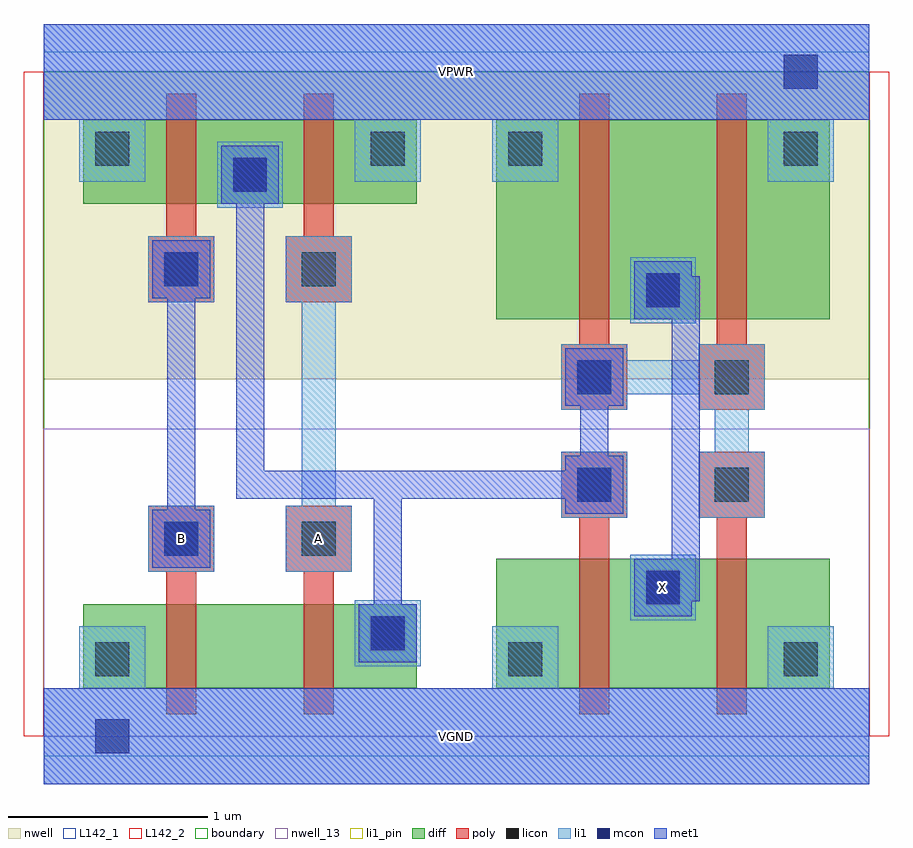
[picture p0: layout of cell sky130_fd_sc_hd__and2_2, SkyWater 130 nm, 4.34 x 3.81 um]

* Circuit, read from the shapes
.subckt sky130_fd_sc_hd__and2_2 A B VGND VPWR X
XM1 n1 B VGND VSUBS sky130_fd_pr__nfet_01v8 w=0.42 l=0.15
XM2 n2 A n1 VSUBS sky130_fd_pr__nfet_01v8 w=0.42 l=0.15
XM3 X n2 VGND VSUBS sky130_fd_pr__nfet_01v8 w=0.65 l=0.15 m=2
XM4 n2 B VPWR n3 sky130_fd_pr__pfet_01v8 w=0.42 l=0.15
XM5 VPWR A n2 n3 sky130_fd_pr__pfet_01v8 w=0.42 l=0.15
XM6 X n2 VPWR n3 sky130_fd_pr__pfet_01v8 w=1 l=0.15 m=2
.ends

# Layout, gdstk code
import gdstk
lib = gdstk.Library(unit=1e-6, precision=1e-09)
def R(c, l, rs):  # rectangles x0, y0, x1, y1
    for r in rs: c.add(gdstk.rectangle(r[:2], r[2:], *l))
def P(c, l, *ps):  # polygons
    for p in ps: c.add(gdstk.Polygon(p, *l))
nwell_13 = (64, 13)
nwell = (64, 20)
diff = (65, 20)
poly = (66, 20)
licon = (66, 44)
li1_pin = (67, 16)
li1 = (67, 20)
mcon = (67, 44)
met1 = (68, 20)
L142_1 = (142, 1)
L142_2 = (142, 2)
boundary = (235, 4)

sky130_fd_sc_hd__and2_2 = lib.new_cell('sky130_fd_sc_hd__and2_2')
R(sky130_fd_sc_hd__and2_2, nwell_13, [(0,0,4.14,1.54)])
R(sky130_fd_sc_hd__and2_2, nwell, [(0,1.79,4.14,3.33)])
R(sky130_fd_sc_hd__and2_2, diff, [(0.2,0.24,1.87,0.66), (0.2,0.24,0.615,0.66), (0.615,0.24,1.305,0.66), (1.305,0.24,1.87,0.66), (2.27,0.24,3.94,0.89), (2.27,0.24,2.685,0.89), (2.685,0.24,3.375,0.89), (3.375,0.24,3.94,0.89), (2.27,2.09,3.94,3.09), (2.27,2.09,2.685,3.09), (2.685,2.09,3.375,3.09), (3.375,2.09,3.94,3.09), (0.2,2.67,1.87,3.09), (0.2,2.67,0.615,3.09), (0.615,2.67,1.305,3.09), (1.305,2.67,1.87,3.09)])
P(sky130_fd_sc_hd__and2_2, poly, [(0.615,0.11),(0.615,0.825),(0.525,0.825),(0.525,1.155),(0.855,1.155),(0.855,0.825),(0.765,0.825),(0.765,0.11)],
  [(0.525,2.175),(0.525,2.505),(0.615,2.505),(0.615,3.22),(0.765,3.22),(0.765,2.505),(0.855,2.505),(0.855,2.175)],
  [(2.685,0.11),(2.685,1.095),(2.595,1.095),(2.595,1.425),(2.925,1.425),(2.925,1.095),(2.835,1.095),(2.835,0.11)],
  [(3.375,0.11),(3.375,1.095),(3.285,1.095),(3.285,1.425),(3.615,1.425),(3.615,1.095),(3.525,1.095),(3.525,0.11)],
  [(2.595,1.635),(2.595,1.965),(2.685,1.965),(2.685,3.22),(2.835,3.22),(2.835,1.965),(2.925,1.965),(2.925,1.635)],
  [(3.285,1.635),(3.285,1.965),(3.375,1.965),(3.375,3.22),(3.525,3.22),(3.525,1.965),(3.615,1.965),(3.615,1.635)],
  [(1.305,0.11),(1.305,0.825),(1.215,0.825),(1.215,1.155),(1.545,1.155),(1.545,0.825),(1.455,0.825),(1.455,0.11)],
  [(1.215,2.175),(1.215,2.505),(1.305,2.505),(1.305,3.22),(1.455,3.22),(1.455,2.505),(1.545,2.505),(1.545,2.175)])
R(sky130_fd_sc_hd__and2_2, licon, [(0.26,0.3,0.43,0.47), (2.33,0.3,2.5,0.47), (3.71,0.3,3.88,0.47), (1.64,0.43,1.81,0.6), (3.02,0.66,3.19,0.83), (0.605,0.905,0.775,1.075), (1.295,0.905,1.465,1.075), (2.675,1.175,2.845,1.345), (3.365,1.175,3.535,1.345), (2.675,1.715,2.845,1.885), (3.365,1.715,3.535,1.885), (3.02,2.15,3.19,2.32), (0.605,2.255,0.775,2.425), (1.295,2.255,1.465,2.425), (0.95,2.73,1.12,2.9), (0.26,2.86,0.43,3.03), (1.64,2.86,1.81,3.03), (2.33,2.86,2.5,3.03), (3.71,2.86,3.88,3.03)])
R(sky130_fd_sc_hd__and2_2, li1_pin, [(0,-0.24,4.14,0.24), (2.94,0.58,3.27,0.91), (0.525,0.825,0.855,1.155), (0,3.09,4.14,3.57)])
P(sky130_fd_sc_hd__and2_2, li1_pin, [(1.215,0.825),(1.215,1.155),(1.295,1.155),(1.295,2.175),(1.215,2.175),(1.215,2.505),(1.545,2.505),(1.545,2.175),(1.465,2.175),(1.465,1.155),(1.545,1.155),(1.545,0.825)])
R(sky130_fd_sc_hd__and2_2, li1, [(1.56,0.35,1.89,0.68), (2.94,0.58,3.27,0.91), (0.525,0.825,0.855,1.155), (2.595,1.095,2.925,1.425), (2.94,2.07,3.27,2.4), (0.525,2.175,0.855,2.505), (0.87,2.65,1.2,2.98)])
P(sky130_fd_sc_hd__and2_2, li1, [(3.285,1.095),(3.285,1.425),(3.365,1.425),(3.365,1.635),(3.285,1.635),(3.285,1.715),(2.925,1.715),(2.925,1.635),(2.595,1.635),(2.595,1.965),(2.925,1.965),(2.925,1.885),(3.285,1.885),(3.285,1.965),(3.615,1.965),(3.615,1.635),(3.535,1.635),(3.535,1.425),(3.615,1.425),(3.615,1.095)],
  [(0.18,2.78),(0.18,3.09),(0,3.09),(0,3.57),(4.14,3.57),(4.14,3.09),(3.96,3.09),(3.96,2.78),(3.63,2.78),(3.63,3.09),(2.58,3.09),(2.58,2.78),(2.25,2.78),(2.25,3.09),(1.89,3.09),(1.89,2.78),(1.56,2.78),(1.56,3.09),(0.51,3.09),(0.51,2.78)],
  [(0,-0.24),(0,0.24),(0.18,0.24),(0.18,0.55),(0.51,0.55),(0.51,0.24),(2.25,0.24),(2.25,0.55),(2.58,0.55),(2.58,0.24),(3.63,0.24),(3.63,0.55),(3.96,0.55),(3.96,0.24),(4.14,0.24),(4.14,-0.24)],
  [(1.215,0.825),(1.215,1.155),(1.295,1.155),(1.295,2.175),(1.215,2.175),(1.215,2.505),(1.545,2.505),(1.545,2.175),(1.465,2.175),(1.465,1.155),(1.545,1.155),(1.545,0.825)])
R(sky130_fd_sc_hd__and2_2, mcon, [(0.26,-0.085,0.43,0.085), (1.64,0.43,1.81,0.6), (3.02,0.66,3.19,0.83), (0.605,0.905,0.775,1.075), (2.675,1.175,2.845,1.345), (2.675,1.715,2.845,1.885), (3.02,2.15,3.19,2.32), (0.605,2.255,0.775,2.425), (0.95,2.73,1.12,2.9), (3.71,3.245,3.88,3.415)])
R(sky130_fd_sc_hd__and2_2, met1, [(0,-0.24,4.14,0.24), (0,3.09,4.14,3.57)])
P(sky130_fd_sc_hd__and2_2, met1, [(0.545,0.845),(0.545,1.135),(0.62,1.135),(0.62,2.195),(0.545,2.195),(0.545,2.485),(0.835,2.485),(0.835,2.195),(0.76,2.195),(0.76,1.135),(0.835,1.135),(0.835,0.845)],
  [(1.58,0.37),(1.58,0.66),(1.655,0.66),(1.655,1.19),(0.965,1.19),(0.965,2.67),(0.89,2.67),(0.89,2.96),(1.18,2.96),(1.18,2.67),(1.105,2.67),(1.105,1.33),(2.615,1.33),(2.615,1.405),(2.69,1.405),(2.69,1.655),(2.615,1.655),(2.615,1.945),(2.905,1.945),(2.905,1.655),(2.83,1.655),(2.83,1.405),(2.905,1.405),(2.905,1.115),(2.615,1.115),(2.615,1.19),(1.795,1.19),(1.795,0.66),(1.87,0.66),(1.87,0.37)],
  [(2.96,0.6),(2.96,0.89),(3.15,0.89),(3.15,2.09),(2.96,2.09),(2.96,2.38),(3.25,2.38),(3.25,2.305),(3.29,2.305),(3.29,0.675),(3.25,0.675),(3.25,0.6)])
R(sky130_fd_sc_hd__and2_2, L142_1, [(0,-0.1,4.14,0), (0,3.33,4.14,3.43)])
R(sky130_fd_sc_hd__and2_2, L142_2, [(-0.1,0,0,3.33), (4.14,0,4.24,3.33)])
R(sky130_fd_sc_hd__and2_2, boundary, [(0,0,4.14,3.33)])
sky130_fd_sc_hd__and2_2.add(gdstk.Label('X', (3.105,0.745), layer=67, texttype=5))
sky130_fd_sc_hd__and2_2.add(gdstk.Label('B', (0.69,0.99), layer=67, texttype=5))
sky130_fd_sc_hd__and2_2.add(gdstk.Label('A', (1.38,0.99), layer=67, texttype=5))
sky130_fd_sc_hd__and2_2.add(gdstk.Label('VGND', (2.07,0), layer=67, texttype=5))
sky130_fd_sc_hd__and2_2.add(gdstk.Label('VPWR', (2.07,3.33), layer=67, texttype=5))
sky130_fd_sc_hd__and2_2.add(gdstk.Label('VGND', (2.07,0), layer=68, texttype=5))
sky130_fd_sc_hd__and2_2.add(gdstk.Label('VPWR', (2.07,3.33), layer=68, texttype=5))

lib.write_gds('sky130_fd_sc_hd__and2_2.gds')
